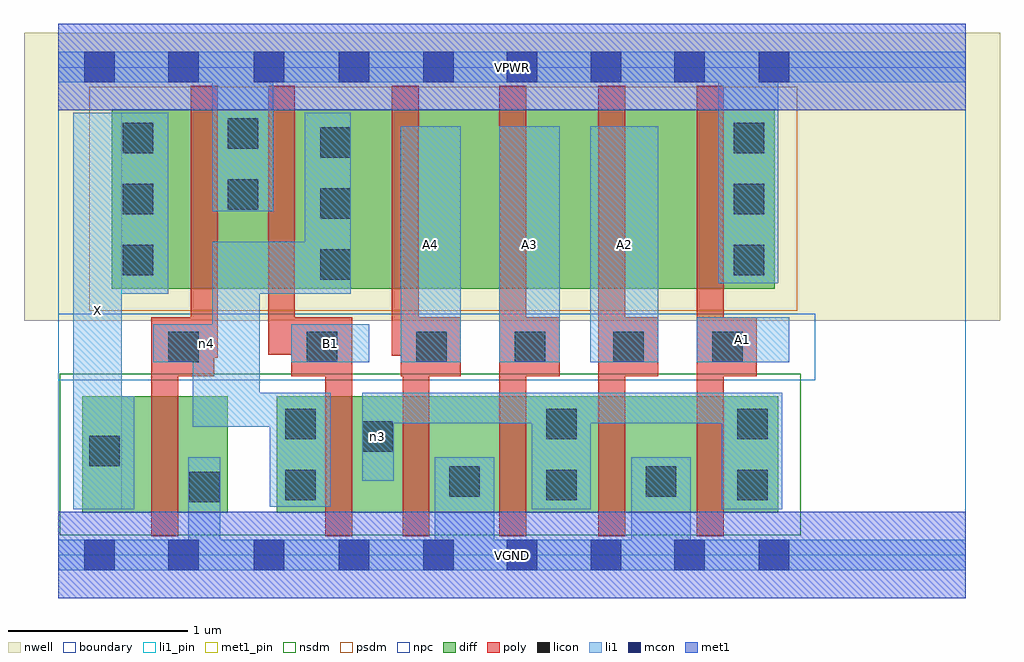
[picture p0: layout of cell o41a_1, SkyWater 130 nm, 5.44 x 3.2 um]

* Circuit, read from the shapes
.subckt o41a_1 A1 A2 A3 A4 B1 VGND VPWR X n3 n4
XM1 VGND n4 X VSUBS sky130_fd_pr__nfet_01v8 w=0.65 l=0.15
XM2 n3 B1 n4 VSUBS sky130_fd_pr__nfet_01v8 w=0.65 l=0.15
XM3 VGND A4 n3 VSUBS sky130_fd_pr__nfet_01v8 w=0.65 l=0.15
XM4 n3 A3 VGND VSUBS sky130_fd_pr__nfet_01v8 w=0.65 l=0.15
XM5 VGND A2 n3 VSUBS sky130_fd_pr__nfet_01v8 w=0.65 l=0.15
XM6 n3 A1 VGND VSUBS sky130_fd_pr__nfet_01v8 w=0.65 l=0.15
XM7 VPWR n4 X n1 sky130_fd_pr__pfet_01v8 w=1 l=0.15
XM8 n4 B1 VPWR n1 sky130_fd_pr__pfet_01v8 w=1 l=0.15
XM9 n2 A4 n4 n1 sky130_fd_pr__pfet_01v8 w=1 l=0.15
XM10 n5 A3 n2 n1 sky130_fd_pr__pfet_01v8 w=1 l=0.15
XM11 n6 A2 n5 n1 sky130_fd_pr__pfet_01v8 w=1 l=0.15
XM12 VPWR A1 n6 n1 sky130_fd_pr__pfet_01v8 w=1 l=0.15
.ends

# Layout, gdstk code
import gdstk
lib = gdstk.Library(unit=1e-6, precision=1e-09)
def R(c, l, rs):  # rectangles x0, y0, x1, y1
    for r in rs: c.add(gdstk.rectangle(r[:2], r[2:], *l))
def A(c, l, x, y, w, h, nx, ny, dx, dy):  # array of equal rectangles
    R(c, l, [(x+i*dx, y+j*dy, x+i*dx+w, y+j*dy+h) for i in range(nx) for j in range(ny)])
nwell = (64, 20)
diff = (65, 20)
poly = (66, 20)
licon = (66, 44)
li1_pin = (67, 16)
li1 = (67, 20)
mcon = (67, 44)
met1_pin = (68, 16)
met1 = (68, 20)
nsdm = (93, 44)
psdm = (94, 20)
npc = (95, 20)
boundary = (235, 4)

o41a_1 = lib.new_cell('o41a_1')
R(o41a_1, nwell, [(-0.19,1.305,5.25,2.91), (0,1.305,5.06,2.91)])
R(o41a_1, diff, [(0.135,0.235,0.945,0.885), (1.22,0.235,4.015,0.885), (0.3,1.485,3.995,2.485)])
A(o41a_1, poly, 2.46, 0.105, 0.15, 2.51, 3, 1, 0.55, 0)
A(o41a_1, poly, 1.91, 0.995, 0.335, 0.33, 4, 1, 0.55, 0)
R(o41a_1, poly, [(0.52,0.105,0.67,1.325), (1.49,0.105,1.64,1.325), (1.92,0.105,2.07,1.325), (0.52,0.995,0.87,1.325), (1.3,0.995,1.64,1.325), (0.74,1.1,0.89,2.615), (1.86,1.11,2.01,2.615), (1.17,1.115,1.32,2.615)])
A(o41a_1, licon, 1.995, 1.075, 0.17, 0.17, 4, 1, 0.55, 0)
A(o41a_1, licon, 1.46, 1.535, 0.17, 0.17, 1, 3, 0, 0.34)
A(o41a_1, licon, 0.36, 1.56, 0.17, 0.17, 1, 3, 0, 0.34)
A(o41a_1, licon, 3.765, 1.56, 0.17, 0.17, 1, 3, 0, 0.34)
R(o41a_1, licon, [(0.73,0.295,0.9,0.465), (1.265,0.305,1.435,0.475), (2.72,0.305,2.89,0.475), (3.785,0.305,3.955,0.475), (2.18,0.325,2.35,0.495), (3.275,0.325,3.445,0.495), (0.175,0.495,0.345,0.665), (1.695,0.575,1.865,0.745), (1.265,0.645,1.435,0.815), (2.72,0.645,2.89,0.815), (3.785,0.645,3.955,0.815), (0.615,1.075,0.785,1.245), (1.385,1.075,1.555,1.245), (0.945,1.925,1.115,2.095), (0.945,2.265,1.115,2.435)])
R(o41a_1, li1_pin, [(0.085,0.255,0.355,2.465), (1.3,1.075,1.735,1.285), (1.91,1.075,2.245,2.39), (2.46,1.075,2.795,2.39), (2.965,1.075,3.345,2.39), (3.56,1.075,4.075,1.325)])
R(o41a_1, li1, [(0,-0.085,5.06,0.085), (0.725,-0.085,0.905,0.545), (2.1,-0.085,2.43,0.545), (3.195,-0.085,3.525,0.545), (0.085,0.255,0.355,2.465), (0.085,0.255,0.425,0.885), (2.64,0.255,2.97,0.905), (3.7,0.255,4.035,0.905), (1.18,0.27,1.52,0.905), (1.695,0.415,1.87,0.905), (0.75,0.715,1.125,1.285), (0.75,0.715,1.52,0.905), (0.86,0.715,1.125,1.745), (1.695,0.735,4.035,0.905), (0.53,1.075,1.125,1.285), (1.3,1.075,1.735,1.285), (1.91,1.075,2.245,2.39), (2.46,1.075,2.795,2.39), (2.965,1.075,3.345,2.39), (3.56,1.075,4.075,1.325), (0.085,1.455,0.615,2.465), (0.86,1.455,1.63,1.745), (1.375,1.455,1.63,2.465), (3.68,1.515,4.015,2.805), (0.86,1.915,1.2,2.805), (0,2.635,5.06,2.805)])
A(o41a_1, mcon, 0.615, -0.085, 0.17, 0.17, 3, 2, 0.475, 2.72)
R(o41a_1, mcon, [(0.145,-0.085,0.315,0.085), (2.035,-0.085,2.205,0.085), (2.5,-0.085,2.67,0.085), (2.97,-0.085,3.14,0.085), (3.435,-0.085,3.605,0.085), (3.905,-0.085,4.075,0.085), (0.145,2.635,0.315,2.805), (2.035,2.635,2.205,2.805), (2.5,2.635,2.67,2.805), (2.97,2.635,3.14,2.805), (3.435,2.635,3.605,2.805), (3.905,2.635,4.075,2.805)])
R(o41a_1, met1_pin, [(0,-0.24,5.06,0.24), (0,2.48,5.06,2.96)])
R(o41a_1, met1, [(0,-0.24,5.06,0.24), (0,2.48,5.06,2.96)])
R(o41a_1, nsdm, [(0.01,0.11,4.14,1.01)])
R(o41a_1, psdm, [(0.175,1.36,4.12,2.61)])
R(o41a_1, npc, [(0,0.975,4.22,1.345)])
R(o41a_1, boundary, [(0,0,5.06,2.72)])
o41a_1.add(gdstk.Label('A1', (3.817,1.2), layer=67, texttype=5))
o41a_1.add(gdstk.Label('A2', (3.155,1.732), layer=67, texttype=5))
o41a_1.add(gdstk.Label('A3', (2.627,1.732), layer=67, texttype=5))
o41a_1.add(gdstk.Label('A4', (2.077,1.732), layer=67, texttype=5))
o41a_1.add(gdstk.Label('B1', (1.517,1.18), layer=67, texttype=5))
o41a_1.add(gdstk.Label('X', (0.22,1.36), layer=67, texttype=5))
o41a_1.add(gdstk.Label('n3', (1.782,0.66), layer=67, texttype=5))
o41a_1.add(gdstk.Label('n4', (0.827,1.18), layer=67, texttype=5))
o41a_1.add(gdstk.Label('VPWR', (2.53,2.72), layer=68, texttype=5))
o41a_1.add(gdstk.Label('VGND', (2.53,0), layer=68, texttype=5))
o41a_1.add(gdstk.Label('A1', (3.817,1.2), layer=67, texttype=16))
o41a_1.add(gdstk.Label('A2', (3.155,1.732), layer=67, texttype=16))
o41a_1.add(gdstk.Label('A3', (2.627,1.732), layer=67, texttype=16))
o41a_1.add(gdstk.Label('A4', (2.077,1.732), layer=67, texttype=16))
o41a_1.add(gdstk.Label('B1', (1.517,1.18), layer=67, texttype=16))
o41a_1.add(gdstk.Label('X', (0.22,1.36), layer=67, texttype=16))
o41a_1.add(gdstk.Label('VPWR', (2.53,2.72), layer=68, texttype=16))
o41a_1.add(gdstk.Label('VGND', (2.53,0), layer=68, texttype=16))

lib.write_gds('o41a_1.gds')
